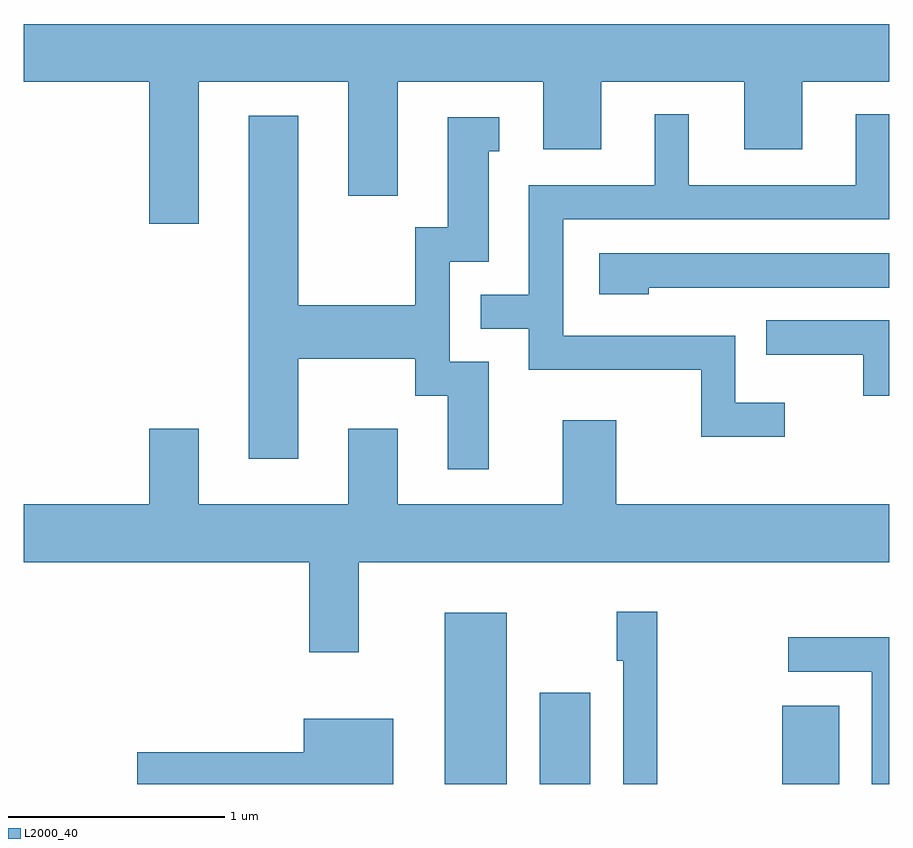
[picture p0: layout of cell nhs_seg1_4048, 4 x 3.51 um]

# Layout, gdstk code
import gdstk
lib = gdstk.Library(unit=1e-6, precision=1e-09)
def R(c, l, rs):  # rectangles x0, y0, x1, y1
    for r in rs: c.add(gdstk.rectangle(r[:2], r[2:], *l))
def P(c, l, *ps):  # polygons
    for p in ps: c.add(gdstk.Polygon(p, *l))
L2000_40 = (2000, 40)

nhs_seg1_4048 = lib.new_cell('nhs_seg1_4048')
R(nhs_seg1_4048, L2000_40, [(309.556,849.712,309.844,850.504), (309.996,849.712,310.229,850.134), (311.116,849.712,311.379,850.074)])
P(nhs_seg1_4048, L2000_40, [(308.419,852.956),(309.111,852.956),(309.111,852.431),(309.339,852.431),(309.339,852.956),(310.011,852.956),(310.011,852.646),(310.279,852.646),(310.279,852.956),(310.941,852.956),(310.941,852.646),(311.209,852.646),(311.209,852.956),(311.611,852.956),(311.611,853.224),(307.611,853.224),(307.611,852.956),(308.191,852.956),(308.191,852.301),(308.419,852.301)],
  [(311.128,851.474),(310.899,851.474),(310.899,851.784),(310.104,851.784),(310.104,852.321),(311.611,852.321),(311.611,852.808),(311.456,852.808),(311.456,852.479),(310.684,852.479),(310.684,852.808),(310.526,852.808),(310.526,852.479),(309.946,852.479),(309.946,851.974),(309.723,851.974),(309.723,851.816),(309.946,851.816),(309.946,851.626),(310.741,851.626),(310.741,851.316),(311.128,851.316)],
  [(309.759,851.664),(309.579,851.664),(309.579,852.126),(309.759,852.126),(309.759,852.636),(309.808,852.636),(309.808,852.794),(309.571,852.794),(309.571,852.284),(309.421,852.284),(309.421,851.924),(308.879,851.924),(308.879,852.799),(308.651,852.799),(308.651,851.216),(308.879,851.216),(308.879,851.676),(309.421,851.676),(309.421,851.506),(309.571,851.506),(309.571,851.166),(309.759,851.166)],
  [(310.499,852.006),(311.611,852.006),(311.611,852.164),(310.271,852.164),(310.271,851.976),(310.499,851.976)],
  [(311.611,851.854),(311.043,851.854),(311.043,851.696),(311.491,851.696),(311.491,851.506),(311.611,851.506)],
  [(309.159,850.736),(311.611,850.736),(311.611,851.004),(310.349,851.004),(310.349,851.394),(310.101,851.394),(310.101,851.004),(309.339,851.004),(309.339,851.354),(309.111,851.354),(309.111,851.004),(308.419,851.004),(308.419,851.354),(308.191,851.354),(308.191,851.004),(307.611,851.004),(307.611,850.736),(308.931,850.736),(308.931,850.321),(309.159,850.321)],
  [(310.539,850.509),(310.351,850.509),(310.351,850.281),(310.381,850.281),(310.381,849.712),(310.539,849.712)],
  [(311.611,850.389),(311.143,850.389),(311.143,850.231),(311.531,850.231),(311.531,849.712),(311.611,849.712)],
  [(309.319,850.014),(308.906,850.014),(308.906,849.859),(308.136,849.859),(308.136,849.712),(309.319,849.712)])

lib.write_gds('nhs_seg1_4048.gds')
